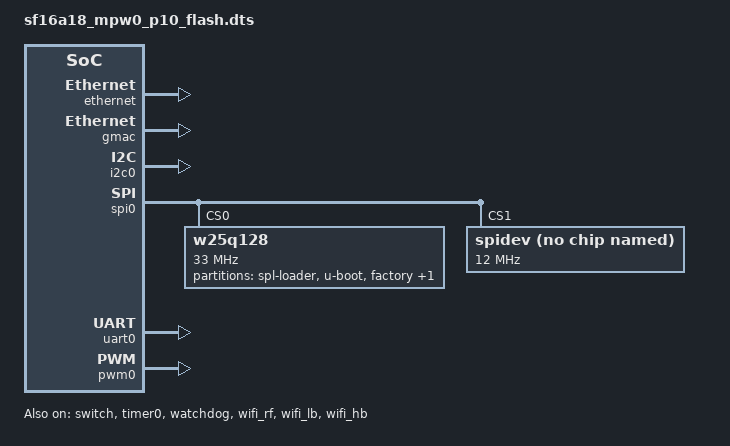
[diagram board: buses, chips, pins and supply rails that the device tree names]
/dts-v1/;

#include "sf16a18_mpw0.dtsi"
#include "sf16a18-thermal.dtsi"


/ {
	#address-cells = <1>;
	#size-cells = <1>;
	compatible = "siflower,sf16a18-soc";
};

&ethernet {
	status = "okay";
};

&switch{
	status = "okay";
};

&gmac {
	status = "okay";
};

&gdma {
	status = "okay";
};

&i2c0 {
	status = "okay";
	#address-cells = <1>;
	#size-cells = <0>;
	/include/	"sf16a18_pmu.dtsi"
};


&spi0 {
	status = "okay";
	use-dma;
	dmas = <&gdma 10
	&gdma 11>;
	dma-names = "tx", "rx";

	#address-cells = <1>;
	#size-cells = <0>;

	w25q128@0 {
		compatible = "w25q128";
		reg = <0>;	/* chip select */
		spi-max-frequency = <33000000>;

		bank-width = <2>;
		device-width = <2>;
		#address-cells = <1>;
		#size-cells = <1>;

		partition@0 {
			label = "spl-loader";
			reg = <0x0 0x8000>; /* 32k */
			read-only;
		};

		partition@8000{
			label = "u-boot";
			reg = <0x8000 0x29000>; /* 164k */
		};

		factory:partition@31000 {
			label = "factory";
			reg = <0x31000 0x1000>; /* 4k */
		};

		partition@32000 {
			label = "firmware";
			reg = <0x32000 0x3CE000>; /* 200k-4M */
		};
	};

	spidev: spi@8200000 {
		compatible = "rohm,dh2228fv";
		reg = <1>;
		clock = <50000000>;
		spi-cpha;
		spi-cpol;
		spi-max-frequency=<12000000>;
	};
};

&uart0 {
	status = "okay";
};

&pwm0 {
	status = "okay";
};

&timer0 {
	status = "okay";
};

&watchdog {
	status = "okay";
};

&wifi_rf {
	status = "okay";
};

&wifi_lb {
	status = "okay";
};

&wifi_hb {
	status = "okay";
};
